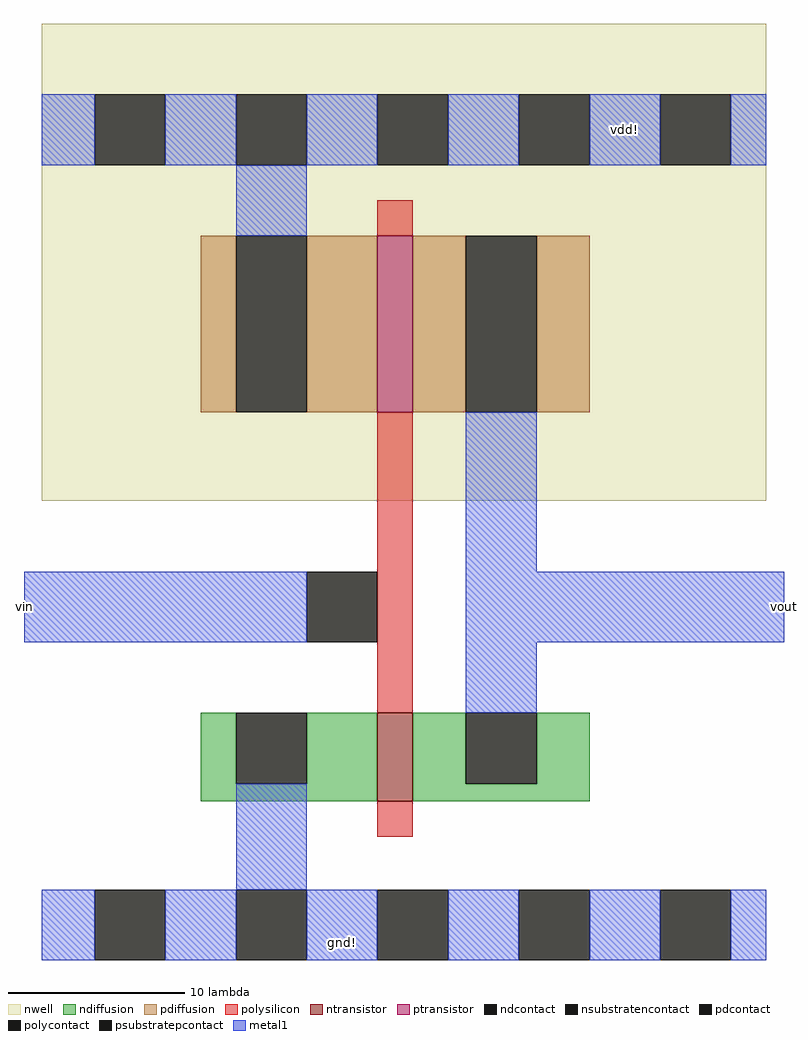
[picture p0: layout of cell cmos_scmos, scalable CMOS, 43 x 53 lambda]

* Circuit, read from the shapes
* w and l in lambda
.subckt cmos_scmos gnd! vdd! vin vout
M1 vout vin gnd! gnd! nfet w=5 l=2
M2 vout vin vdd! vdd! pfet w=10 l=2
.ends

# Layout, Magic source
magic
tech scmos
<< nwell >>
rect -28 -4 13 23
<< polysilicon >>
rect -9 11 -7 13
rect -9 -16 -7 1
rect -9 -23 -7 -21
<< ndiffusion >>
rect -19 -20 -17 -16
rect -13 -20 -9 -16
rect -19 -21 -9 -20
rect -7 -20 -4 -16
rect 0 -20 3 -16
rect -7 -21 3 -20
<< pdiffusion >>
rect -19 1 -17 11
rect -13 1 -9 11
rect -7 1 -4 11
rect 0 1 3 11
<< metal1 >>
rect -28 15 -25 19
rect -21 15 -17 19
rect -13 15 -9 19
rect -5 15 -1 19
rect 3 15 7 19
rect 11 15 13 19
rect -17 11 -13 15
rect -4 -8 0 1
rect -29 -12 -13 -8
rect -4 -12 14 -8
rect -4 -16 0 -12
rect -17 -26 -13 -20
rect -28 -30 -25 -26
rect -21 -30 -17 -26
rect -13 -30 -9 -26
rect -5 -30 -1 -26
rect 3 -30 7 -26
rect 11 -30 13 -26
<< ntransistor >>
rect -9 -21 -7 -16
<< ptransistor >>
rect -9 1 -7 11
<< polycontact >>
rect -13 -12 -9 -8
<< ndcontact >>
rect -17 -20 -13 -16
rect -4 -20 0 -16
<< pdcontact >>
rect -17 1 -13 11
rect -4 1 0 11
<< psubstratepcontact >>
rect -25 -30 -21 -26
rect -17 -30 -13 -26
rect -9 -30 -5 -26
rect -1 -30 3 -26
rect 7 -30 11 -26
<< nsubstratencontact >>
rect -25 15 -21 19
rect -17 15 -13 19
rect -9 15 -5 19
rect -1 15 3 19
rect 7 15 11 19
<< labels >>
rlabel metal1 5 17 5 17 1 vdd!
rlabel metal1 -11 -29 -11 -29 1 gnd!
rlabel metal1 -29 -12 -29 -8 3 vin
rlabel metal1 14 -12 14 -8 7 vout
<< end >>
